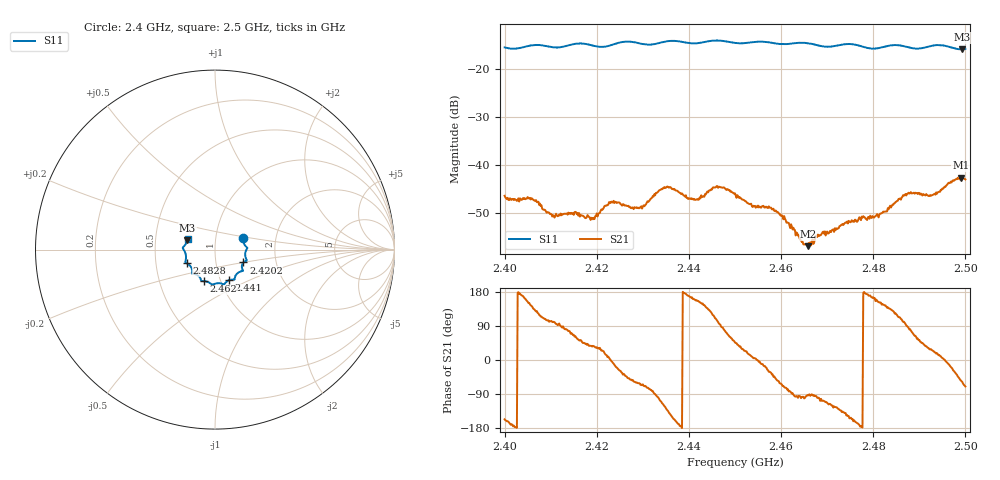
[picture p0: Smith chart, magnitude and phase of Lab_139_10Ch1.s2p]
# Hz S RI R 50
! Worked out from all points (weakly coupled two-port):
!   601 points, 2.4 GHz to 2.5 GHz, reference 50 ohm
!   highest |S21| = -42.59 dB at 2.499 GHz (marker M1); lowest = -56.9 dB at 2.4658 GHz (marker M2)
!   lowest |S11| = -15.8 dB at 2.4993 GHz (marker M3), VSWR 1.39, Z = 36.5 + j3.89 ohm
!   |S11| at or under -10 dB: start of sweep to end of sweep
!   S12 and S22 are empty: the file has one direction only
!   S11 on the Smith chart (normalised r, x): 2.4 GHz: 1.36, +0.17; 2.4202 GHz: 1.36, -0.20; 2.441 GHz: 1.10, -0.39; 2.462 GHz: 0.83, -0.30; 2.4828 GHz: 0.72, -0.11; 2.5 GHz: 0.73, +0.09
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2.4e9  0.1582 0.0622  -0.0044 -0.00191  0 0  0 0
2.4055e9  0.1771 0.0126  -0.00381 0.00249  0 0  0 0
2.4105e9  0.1703 -0.0118  -0.000525 0.00296  0 0  0 0
2.416667e9  0.1769 -0.0604  0.00189 0.00231  0 0  0 0
2.420167e9  0.158 -0.0718  0.0025 0.00149  0 0  0 0
2.423167e9  0.15 -0.0997  0.00415 -0.000205  0 0  0 0
2.4295e9  0.1406 -0.1228  0.00149 -0.00329  0 0  0 0
2.433333e9  0.1118 -0.151  -0.000788 -0.00524  0 0  0 0
2.441e9  0.078 -0.1702  -0.00413 0.0014  0 0  0 0
2.445667e9  0.0507 -0.1944  -0.00203 0.00548  0 0  0 0
2.45e9  0.0278 -0.1875  0.00352 0.00367  0 0  0 0
2.457833e9  -0.0247 -0.189  0.00299 -0.002  0 0  0 0
2.462e9  -0.061 -0.1756  0.000262 -0.00219  0 0  0 0
2.465833e9  -0.0773 -0.1717  -8.86e-05 -0.00142  0 0  0 0
2.466667e9  -0.0787 -0.1677  -1.77e-05 -0.00153  0 0  0 0
2.482833e9  -0.1572 -0.0768  -0.00255 0.00207  0 0  0 0
2.483333e9  -0.1602 -0.0754  -0.00252 0.00237  0 0  0 0
2.487167e9  -0.1628 -0.0577  -0.000121 0.00483  0 0  0 0
2.493e9  -0.178 0.00462  0.00449 0.002  0 0  0 0
2.499e9  -0.1555 0.0474  0.00437 -0.006  0 0  0 0
2.499333e9  -0.154 0.0519  0.00385 -0.0062  0 0  0 0
2.5e9  -0.1523 0.0611  0.00245 -0.00667  0 0  0 0
